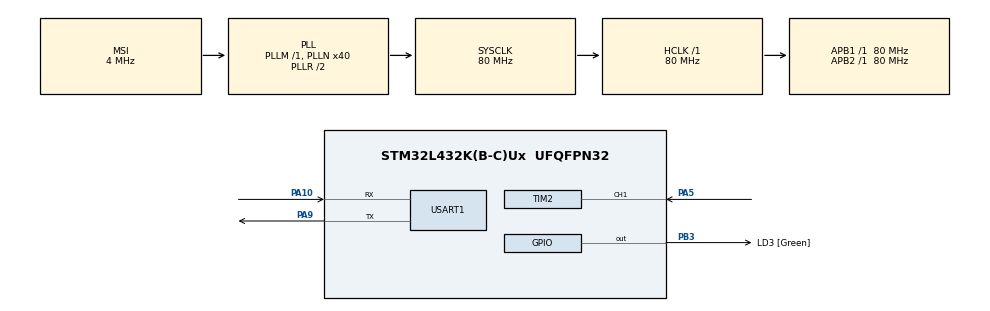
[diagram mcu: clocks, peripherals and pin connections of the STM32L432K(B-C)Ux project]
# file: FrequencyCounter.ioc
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Mcu.Family=STM32L4
Mcu.Name=STM32L432K(B-C)Ux
Mcu.Package=UFQFPN32
NVIC.PriorityGroup=NVIC_PRIORITYGROUP_4
NVIC.TIM1_UP_TIM16_IRQn=true\:0\:0\:false\:false\:true\:true\:true\:true
NVIC.TIM2_IRQn=true\:0\:0\:false\:false\:true\:true\:true\:true
PA0.GPIO_Label=MCO [High speed clock in]
PA0.Mode=HSE-External-Clock-Source-for-LittleOrca
PA0.Signal=RCC_CK_IN
PA10.Mode=Asynchronous
PA10.Signal=USART1_RX
PA13\ (JTMS-SWDIO).GPIO_Label=SWDIO
PA13\ (JTMS-SWDIO).Mode=Serial_Wire
PA13\ (JTMS-SWDIO).Signal=SYS_JTMS-SWDIO
PA14\ (JTCK-SWCLK).GPIO_Label=SWCLK
PA14\ (JTCK-SWCLK).Mode=Serial_Wire
PA14\ (JTCK-SWCLK).Signal=SYS_JTCK-SWCLK
PA5.Signal=S_TIM2_CH1
PA9.Mode=Asynchronous
PA9.Signal=USART1_TX
PB3\ (JTDO-TRACESWO).GPIO_Label=LD3 [Green]
PB3\ (JTDO-TRACESWO).Signal=GPIO_Output
PC14-OSC32_IN\ (PC14).Mode=LSE-External-Oscillator
PC14-OSC32_IN\ (PC14).Signal=RCC_OSC32_IN
PC15-OSC32_OUT\ (PC15).Mode=LSE-External-Oscillator
PC15-OSC32_OUT\ (PC15).Signal=RCC_OSC32_OUT
ProjectManager.HeapSize=0x200
ProjectManager.StackSize=0x400
ProjectManager.TargetToolchain=STM32CubeIDE
RCC.AHBFreq_Value=80000000
RCC.APB1Freq_Value=80000000
RCC.APB1TimFreq_Value=80000000
RCC.APB2Freq_Value=80000000
RCC.APB2TimFreq_Value=80000000
RCC.CortexFreq_Value=80000000
RCC.HCLKFreq_Value=80000000
RCC.HSE_VALUE=8000000
RCC.HSI16_VALUE=16000000
RCC.HSI48_VALUE=48000000
RCC.HSI_VALUE=16000000
RCC.MSI_VALUE=4000000
RCC.PLLMUL=RCC_PLLMUL_4
RCC.PLLN=40
RCC.SYSCLKFreq_VALUE=80000000
RCC.SYSCLKSource=RCC_SYSCLKSOURCE_PLLCLK
RCC.VCOOutputFreq_Value=160000000
SH.S_TIM2_CH1.0=TIM2_CH1,Input_Capture1_from_TI1
TIM16.Period=10000
TIM16.Prescaler=8000
TIM2.Channel-Input_Capture1_from_TI1=TIM_CHANNEL_1
TIM2.Prescaler=80-1
USART1.VirtualMode-Asynchronous=VM_ASYNC
VP_TIM16_VS_ClockSourceINT.Mode=Enable_Timer
VP_TIM2_VS_ClockSourceINT.Mode=Internal
board=NUCLEO-L432KC

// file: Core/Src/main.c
/* USER CODE BEGIN Header */
/**
  ******************************************************************************
  * @file           : main.c
  * @brief          : Main program body
  ******************************************************************************
  * @attention
  *
  * Copyright (c) 2023 STMicroelectronics.
  * All rights reserved.
  *
  * This software is licensed under terms that can be found in the LICENSE file
  * in the root directory of this software component.
  * If no LICENSE file comes with this software, it is provided AS-IS.
  *
  ******************************************************************************
  */
/* USER CODE END Header */
#include "main.h"

/* USER CODE BEGIN Includes */
#include <stdbool.h>
#include <string.h>
#include <stdio.h>
/* USER CODE END Includes */

TIM_HandleTypeDef htim2;
TIM_HandleTypeDef htim16;

UART_HandleTypeDef huart1;

/* USER CODE BEGIN PV */
uint32_t captureValue;
float frequency;
bool firstCapture = true;
uint8_t txBuffer[20];

// reference clock is APB1 / timer2 prescaler
// 1MHz in this case
float refClock = 80000000.0 / 80.0;
/* USER CODE END PV */

void SystemClock_Config(void);
static void MX_GPIO_Init(void);
static void MX_TIM2_Init(void);
static void MX_TIM16_Init(void);
static void MX_USART1_UART_Init(void);

int main(void)
{

  /* MCU Configuration--------------------------------------------------------*/

  /* Reset of all peripherals, Initializes the Flash interface and the Systick. */
  HAL_Init();

  /* Configure the system clock */
  SystemClock_Config();

  /* Initialize all configured peripherals */
  MX_GPIO_Init();
  MX_TIM2_Init();
  MX_TIM16_Init();
  MX_USART1_UART_Init();
  /* USER CODE BEGIN 2 */

  // Timer 2 performs capture on PA5 and measures time between successive pulses
  HAL_TIM_IC_Start_IT(&htim2, TIM_CHANNEL_1);

  // 1s timer to send frequency value via uart
  HAL_TIM_Base_Start_IT(&htim16);

  /* USER CODE END 2 */

  /* Infinite loop */
  while (1)
  {

  }
}

void SystemClock_Config(void)
{
  RCC_OscInitTypeDef RCC_OscInitStruct = {0};
  RCC_ClkInitTypeDef RCC_ClkInitStruct = {0};

  /** Configure the main internal regulator output voltage
  */
  if (HAL_PWREx_ControlVoltageScaling(PWR_REGULATOR_VOLTAGE_SCALE1) != HAL_OK)
  {
    Error_Handler();
  }

  /** Configure LSE Drive Capability
  */
  HAL_PWR_EnableBkUpAccess();
  __HAL_RCC_LSEDRIVE_CONFIG(RCC_LSEDRIVE_LOW);

  /** Initializes the RCC Oscillators according to the specified parameters
  * in the RCC_OscInitTypeDef structure.
  */
  RCC_OscInitStruct.OscillatorType = RCC_OSCILLATORTYPE_LSE|RCC_OSCILLATORTYPE_MSI;
  RCC_OscInitStruct.LSEState = RCC_LSE_ON;
  RCC_OscInitStruct.MSIState = RCC_MSI_ON;
  RCC_OscInitStruct.MSICalibrationValue = 0;
  RCC_OscInitStruct.MSIClockRange = RCC_MSIRANGE_6;
  RCC_OscInitStruct.PLL.PLLState = RCC_PLL_ON;
  RCC_OscInitStruct.PLL.PLLSource = RCC_PLLSOURCE_MSI;
  RCC_OscInitStruct.PLL.PLLM = 1;
  RCC_OscInitStruct.PLL.PLLN = 40;
  RCC_OscInitStruct.PLL.PLLP = RCC_PLLP_DIV7;
  RCC_OscInitStruct.PLL.PLLQ = RCC_PLLQ_DIV2;
  RCC_OscInitStruct.PLL.PLLR = RCC_PLLR_DIV2;
  if (HAL_RCC_OscConfig(&RCC_OscInitStruct) != HAL_OK)
  {
    Error_Handler();
  }

  /** Initializes the CPU, AHB and APB buses clocks
  */
  RCC_ClkInitStruct.ClockType = RCC_CLOCKTYPE_HCLK|RCC_CLOCKTYPE_SYSCLK
                              |RCC_CLOCKTYPE_PCLK1|RCC_CLOCKTYPE_PCLK2;
  RCC_ClkInitStruct.SYSCLKSource = RCC_SYSCLKSOURCE_PLLCLK;
  RCC_ClkInitStruct.AHBCLKDivider = RCC_SYSCLK_DIV1;
  RCC_ClkInitStruct.APB1CLKDivider = RCC_HCLK_DIV1;
  RCC_ClkInitStruct.APB2CLKDivider = RCC_HCLK_DIV1;

  if (HAL_RCC_ClockConfig(&RCC_ClkInitStruct, FLASH_LATENCY_4) != HAL_OK)
  {
    Error_Handler();
  }

  /** Enable MSI Auto calibration
  */
  HAL_RCCEx_EnableMSIPLLMode();
}

static void MX_TIM2_Init(void)
{

  TIM_ClockConfigTypeDef sClockSourceConfig = {0};
  TIM_MasterConfigTypeDef sMasterConfig = {0};
  TIM_IC_InitTypeDef sConfigIC = {0};

  htim2.Instance = TIM2;
  htim2.Init.Prescaler = 80-1;
  htim2.Init.CounterMode = TIM_COUNTERMODE_UP;
  htim2.Init.Period = 4294967295;
  htim2.Init.ClockDivision = TIM_CLOCKDIVISION_DIV1;
  htim2.Init.AutoReloadPreload = TIM_AUTORELOAD_PRELOAD_DISABLE;
  if (HAL_TIM_Base_Init(&htim2) != HAL_OK)
  {
    Error_Handler();
  }
  sClockSourceConfig.ClockSource = TIM_CLOCKSOURCE_INTERNAL;
  if (HAL_TIM_ConfigClockSource(&htim2, &sClockSourceConfig) != HAL_OK)
  {
    Error_Handler();
  }
  if (HAL_TIM_IC_Init(&htim2) != HAL_OK)
  {
    Error_Handler();
  }
  sMasterConfig.MasterOutputTrigger = TIM_TRGO_RESET;
  sMasterConfig.MasterSlaveMode = TIM_MASTERSLAVEMODE_DISABLE;
  if (HAL_TIMEx_MasterConfigSynchronization(&htim2, &sMasterConfig) != HAL_OK)
  {
    Error_Handler();
  }
  sConfigIC.ICPolarity = TIM_INPUTCHANNELPOLARITY_RISING;
  sConfigIC.ICSelection = TIM_ICSELECTION_DIRECTTI;
  sConfigIC.ICPrescaler = TIM_ICPSC_DIV1;
  sConfigIC.ICFilter = 0;
  if (HAL_TIM_IC_ConfigChannel(&htim2, &sConfigIC, TIM_CHANNEL_1) != HAL_OK)
  {
    Error_Handler();
  }

}

static void MX_TIM16_Init(void)
{

  htim16.Instance = TIM16;
  htim16.Init.Prescaler = 8000;
  htim16.Init.CounterMode = TIM_COUNTERMODE_UP;
  htim16.Init.Period = 10000;
  htim16.Init.ClockDivision = TIM_CLOCKDIVISION_DIV1;
  htim16.Init.RepetitionCounter = 0;
  htim16.Init.AutoReloadPreload = TIM_AUTORELOAD_PRELOAD_DISABLE;
  if (HAL_TIM_Base_Init(&htim16) != HAL_OK)
  {
    Error_Handler();
  }

}

static void MX_USART1_UART_Init(void)
{

  huart1.Instance = USART1;
  huart1.Init.BaudRate = 115200;
  huart1.Init.WordLength = UART_WORDLENGTH_8B;
  huart1.Init.StopBits = UART_STOPBITS_1;
  huart1.Init.Parity = UART_PARITY_NONE;
  huart1.Init.Mode = UART_MODE_TX_RX;
  huart1.Init.HwFlowCtl = UART_HWCONTROL_NONE;
  huart1.Init.OverSampling = UART_OVERSAMPLING_16;
  huart1.Init.OneBitSampling = UART_ONE_BIT_SAMPLE_DISABLE;
  huart1.AdvancedInit.AdvFeatureInit = UART_ADVFEATURE_NO_INIT;
  if (HAL_UART_Init(&huart1) != HAL_OK)
  {
    Error_Handler();
  }

}

static void MX_GPIO_Init(void)
{
  GPIO_InitTypeDef GPIO_InitStruct = {0};

  /* GPIO Ports Clock Enable */
  __HAL_RCC_GPIOC_CLK_ENABLE();
  __HAL_RCC_GPIOA_CLK_ENABLE();
  __HAL_RCC_GPIOB_CLK_ENABLE();

  /*Configure GPIO pin Output Level */
  HAL_GPIO_WritePin(LD3_GPIO_Port, LD3_Pin, GPIO_PIN_RESET);

  /*Configure GPIO pin : LD3_Pin */
  GPIO_InitStruct.Pin = LD3_Pin;
  GPIO_InitStruct.Mode = GPIO_MODE_OUTPUT_PP;
  GPIO_InitStruct.Pull = GPIO_NOPULL;
  GPIO_InitStruct.Speed = GPIO_SPEED_FREQ_LOW;
  HAL_GPIO_Init(LD3_GPIO_Port, &GPIO_InitStruct);

}

/* USER CODE BEGIN 4 */

//////////////////////////////////////////////////////////////////////////////
// ISR for timer 16.  Fires every second and sends frequency value over uart.
//////////////////////////////////////////////////////////////////////////////
void HAL_TIM_PeriodElapsedCallback (TIM_HandleTypeDef * htim)
{

	// send frequency value over uart every second
	if (htim == &htim16)
	{
		// send frequency value via uart
		sprintf((char*)txBuffer, "%.2f\n", frequency);
		HAL_UART_Transmit(&huart1, txBuffer, strlen((char*)txBuffer), 100);

		// reset frequency value
		// will be updated by incoming pulses
		// if they stop, will remain at 0.0
		frequency = 0.0;
	}
}

//////////////////////////////////////////////////////////////////////////////
// ISR for input capture on PA5.
// On every rising edge input of PA5, capture value is read and frequency calculated.
// Capture counter is incremented by 1MHz internal clock.  Frequency of input
// pulse train calculated using counter value reached between pulses on PA5
//////////////////////////////////////////////////////////////////////////////
void HAL_TIM_IC_CaptureCallback (TIM_HandleTypeDef * htim)
{
	if (htim == &htim2)
	{
		if (htim->Channel == HAL_TIM_ACTIVE_CHANNEL_1)
		{

			if (firstCapture)
			{
				// on first pulse,  just reset counter
				__HAL_TIM_SET_COUNTER(htim, 0);
				firstCapture = false;
			}
			else
			{
				// read counter value
				captureValue = HAL_TIM_ReadCapturedValue(htim, TIM_CHANNEL_1);

				// frequency is ref clock freq / number of pulses
				// note: this is the number of pulses of the refClock between incoming pulses on PA5
				frequency = refClock / captureValue;

				// ignore spurious values when input stops
				// limit set to 2kHz for this application
				if (frequency > 2000.0) frequency = 0.0;

				// reset counter
				__HAL_TIM_SET_COUNTER(htim, 0);
			}
		}
	}
}
/* USER CODE END 4 */

void Error_Handler(void)
{
  __disable_irq();
  while (1)
  {
  }
}
